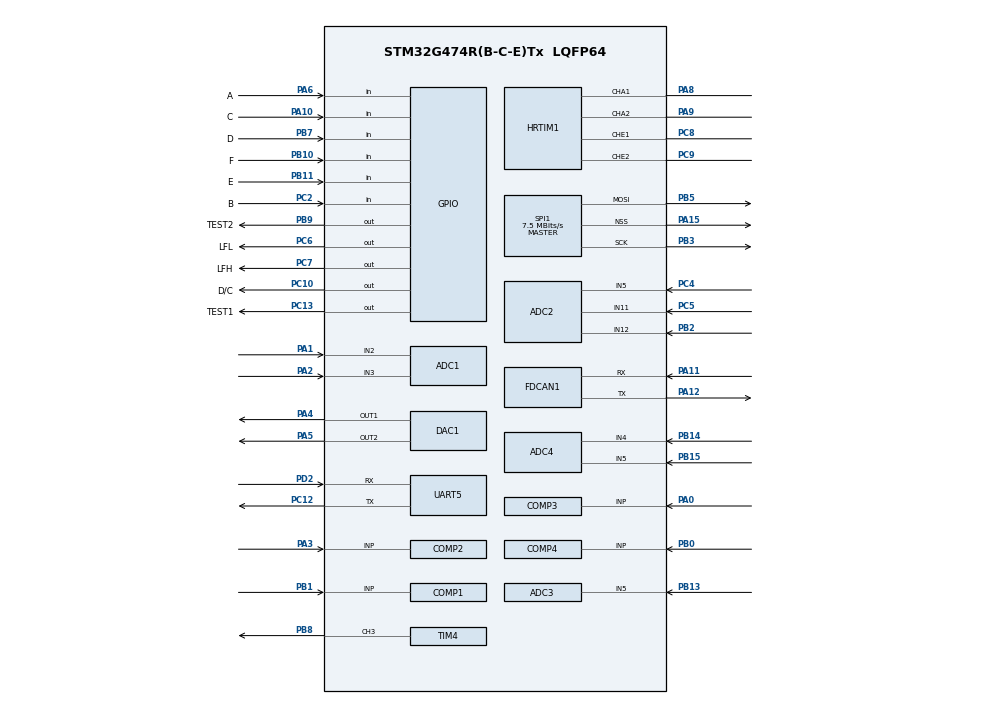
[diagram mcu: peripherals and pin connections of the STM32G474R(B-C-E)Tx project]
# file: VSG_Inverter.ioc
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ADC1.Channel-1\#ChannelRegularConversion=ADC_CHANNEL_4
ADC1.Channel-2\#ChannelRegularConversion=ADC_CHANNEL_3
ADC1.Channel-3\#ChannelRegularConversion=ADC_CHANNEL_2
ADC1.ClockPrescaler=ADC_CLOCK_ASYNC_DIV2
ADC1.DMAContinuousRequests=ENABLE
ADC1.EOCSelection=ADC_EOC_SEQ_CONV
ADC1.ExternalTrigConv=ADC_EXTERNALTRIG_HRTIM_TRG1
ADC1.NbrOfConversion=3
ADC1.NbrOfConversionFlag=1
ADC1.OffsetNumber-1\#ChannelRegularConversion=ADC_OFFSET_NONE
ADC1.OffsetNumber-2\#ChannelRegularConversion=ADC_OFFSET_NONE
ADC1.OffsetNumber-3\#ChannelRegularConversion=ADC_OFFSET_NONE
ADC1.OversamplingMode=ENABLE
ADC1.Rank-1\#ChannelRegularConversion=1
ADC1.Rank-2\#ChannelRegularConversion=2
ADC1.Rank-3\#ChannelRegularConversion=3
ADC1.Ratio=ADC_OVERSAMPLING_RATIO_4
ADC1.RightBitShift=ADC_RIGHTBITSHIFT_1
ADC1.SamplingTime-1\#ChannelRegularConversion=ADC_SAMPLETIME_6CYCLES_5
ADC1.SamplingTime-2\#ChannelRegularConversion=ADC_SAMPLETIME_6CYCLES_5
ADC1.SamplingTime-3\#ChannelRegularConversion=ADC_SAMPLETIME_6CYCLES_5
ADC1.master=1
ADC2.Channel-1\#ChannelRegularConversion=ADC_CHANNEL_12
ADC2.Channel-2\#ChannelRegularConversion=ADC_CHANNEL_11
ADC2.Channel-3\#ChannelRegularConversion=ADC_CHANNEL_5
ADC2.ClockPrescaler=ADC_CLOCK_ASYNC_DIV2
ADC2.DMAContinuousRequests=ENABLE
ADC2.EOCSelection=ADC_EOC_SEQ_CONV
ADC2.ExternalTrigConv=ADC_EXTERNALTRIG_HRTIM_TRG5
ADC2.NbrOfConversion=3
ADC2.NbrOfConversionFlag=1
ADC2.OffsetNumber-1\#ChannelRegularConversion=ADC_OFFSET_NONE
ADC2.OffsetNumber-2\#ChannelRegularConversion=ADC_OFFSET_NONE
ADC2.OffsetNumber-3\#ChannelRegularConversion=ADC_OFFSET_NONE
ADC2.OversamplingMode=ENABLE
ADC2.OversamplingStopReset=ADC_REGOVERSAMPLING_CONTINUED_MODE
ADC2.Rank-1\#ChannelRegularConversion=1
ADC2.Rank-2\#ChannelRegularConversion=2
ADC2.Rank-3\#ChannelRegularConversion=3
ADC2.Ratio=ADC_OVERSAMPLING_RATIO_4
ADC2.RightBitShift=ADC_RIGHTBITSHIFT_1
ADC2.SamplingTime-1\#ChannelRegularConversion=ADC_SAMPLETIME_6CYCLES_5
ADC2.SamplingTime-2\#ChannelRegularConversion=ADC_SAMPLETIME_6CYCLES_5
ADC2.SamplingTime-3\#ChannelRegularConversion=ADC_SAMPLETIME_6CYCLES_5
ADC3.Channel-1\#ChannelRegularConversion=ADC_CHANNEL_12
ADC3.Channel-2\#ChannelRegularConversion=ADC_CHANNEL_5
ADC3.ClockPrescaler=ADC_CLOCK_ASYNC_DIV2
ADC3.DMAContinuousRequests=ENABLE
ADC3.EOCSelection=ADC_EOC_SEQ_CONV
ADC3.ExternalTrigConv=ADC_EXTERNALTRIG_HRTIM_TRG3
ADC3.NbrOfConversion=2
ADC3.NbrOfConversionFlag=1
ADC3.OffsetNumber-1\#ChannelRegularConversion=ADC_OFFSET_NONE
ADC3.OffsetNumber-2\#ChannelRegularConversion=ADC_OFFSET_NONE
ADC3.OversamplingMode=ENABLE
ADC3.Rank-1\#ChannelRegularConversion=1
ADC3.Rank-2\#ChannelRegularConversion=2
ADC3.Ratio=ADC_OVERSAMPLING_RATIO_4
ADC3.RightBitShift=ADC_RIGHTBITSHIFT_1
ADC3.SamplingTime-1\#ChannelRegularConversion=ADC_SAMPLETIME_6CYCLES_5
ADC3.SamplingTime-2\#ChannelRegularConversion=ADC_SAMPLETIME_6CYCLES_5
ADC3.master=1
ADC4.Channel-0\#ChannelRegularConversion=ADC_CHANNEL_5
ADC4.Channel-1\#ChannelRegularConversion=ADC_CHANNEL_4
ADC4.ClockPrescaler=ADC_CLOCK_ASYNC_DIV2
ADC4.NbrOfConversion=2
ADC4.NbrOfConversionFlag=1
ADC4.OffsetNumber-0\#ChannelRegularConversion=ADC_OFFSET_NONE
ADC4.OffsetNumber-1\#ChannelRegularConversion=ADC_OFFSET_NONE
ADC4.Rank-0\#ChannelRegularConversion=1
ADC4.Rank-1\#ChannelRegularConversion=2
ADC4.SamplingTime-0\#ChannelRegularConversion=ADC_SAMPLETIME_6CYCLES_5
ADC4.SamplingTime-1\#ChannelRegularConversion=ADC_SAMPLETIME_6CYCLES_5
ADC5.Channel-0\#ChannelRegularConversion=ADC_CHANNEL_TEMPSENSOR_ADC5
ADC5.Channel-1\#ChannelRegularConversion=ADC_CHANNEL_VBAT
ADC5.Channel-2\#ChannelRegularConversion=ADC_CHANNEL_VREFINT
ADC5.ClockPrescaler=ADC_CLOCK_ASYNC_DIV2
ADC5.EnableAnalogWatchDog1=false
ADC5.EnableAnalogWatchDog2=false
ADC5.NbrOfConversion=3
ADC5.NbrOfConversionFlag=1
ADC5.OffsetNumber-0\#ChannelRegularConversion=ADC_OFFSET_NONE
ADC5.OffsetNumber-1\#ChannelRegularConversion=ADC_OFFSET_NONE
ADC5.OffsetNumber-2\#ChannelRegularConversion=ADC_OFFSET_NONE
ADC5.OversamplingMode=ENABLE
ADC5.Rank-0\#ChannelRegularConversion=1
ADC5.Rank-1\#ChannelRegularConversion=2
ADC5.Rank-2\#ChannelRegularConversion=3
ADC5.Ratio=ADC_OVERSAMPLING_RATIO_16
ADC5.RightBitShift=ADC_RIGHTBITSHIFT_2
ADC5.SamplingTime-0\#ChannelRegularConversion=ADC_SAMPLETIME_12CYCLES_5
ADC5.SamplingTime-1\#ChannelRegularConversion=ADC_SAMPLETIME_12CYCLES_5
ADC5.SamplingTime-2\#ChannelRegularConversion=ADC_SAMPLETIME_12CYCLES_5
DAC1.DAC_Channel-DAC_OUT2=DAC_CHANNEL_2
DAC3.DAC_Channel-DAC_OUT2_Int=DAC_CHANNEL_2
Dma.ADC1.0.Direction=DMA_PERIPH_TO_MEMORY
Dma.ADC1.0.EventEnable=DISABLE
Dma.ADC1.0.Instance=DMA2_Channel1
Dma.ADC1.0.MemDataAlignment=DMA_MDATAALIGN_HALFWORD
Dma.ADC1.0.MemInc=DMA_MINC_ENABLE
Dma.ADC1.0.Mode=DMA_CIRCULAR
Dma.ADC1.0.PeriphDataAlignment=DMA_PDATAALIGN_HALFWORD
Dma.ADC1.0.PeriphInc=DMA_PINC_DISABLE
Dma.ADC1.0.Polarity=HAL_DMAMUX_REQ_GEN_RISING
Dma.ADC1.0.Priority=DMA_PRIORITY_VERY_HIGH
Dma.ADC1.0.RequestNumber=1
Dma.ADC1.0.SignalID=NONE
Dma.ADC1.0.SyncEnable=DISABLE
Dma.ADC1.0.SyncPolarity=HAL_DMAMUX_SYNC_NO_EVENT
Dma.ADC1.0.SyncRequestNumber=1
Dma.ADC1.0.SyncSignalID=NONE
Dma.ADC2.1.Direction=DMA_PERIPH_TO_MEMORY
Dma.ADC2.1.EventEnable=DISABLE
Dma.ADC2.1.Instance=DMA2_Channel2
Dma.ADC2.1.MemDataAlignment=DMA_MDATAALIGN_HALFWORD
Dma.ADC2.1.MemInc=DMA_MINC_ENABLE
Dma.ADC2.1.Mode=DMA_CIRCULAR
Dma.ADC2.1.PeriphDataAlignment=DMA_PDATAALIGN_HALFWORD
Dma.ADC2.1.PeriphInc=DMA_PINC_DISABLE
Dma.ADC2.1.Polarity=HAL_DMAMUX_REQ_GEN_RISING
Dma.ADC2.1.Priority=DMA_PRIORITY_VERY_HIGH
Dma.ADC2.1.RequestNumber=1
Dma.ADC2.1.SignalID=NONE
Dma.ADC2.1.SyncEnable=DISABLE
Dma.ADC2.1.SyncPolarity=HAL_DMAMUX_SYNC_NO_EVENT
Dma.ADC2.1.SyncRequestNumber=1
Dma.ADC2.1.SyncSignalID=NONE
Dma.ADC3.2.Direction=DMA_PERIPH_TO_MEMORY
Dma.ADC3.2.EventEnable=DISABLE
Dma.ADC3.2.Instance=DMA2_Channel3
Dma.ADC3.2.MemDataAlignment=DMA_MDATAALIGN_HALFWORD
Dma.ADC3.2.MemInc=DMA_MINC_ENABLE
Dma.ADC3.2.Mode=DMA_CIRCULAR
Dma.ADC3.2.PeriphDataAlignment=DMA_PDATAALIGN_HALFWORD
Dma.ADC3.2.PeriphInc=DMA_PINC_DISABLE
Dma.ADC3.2.Polarity=HAL_DMAMUX_REQ_GEN_RISING
Dma.ADC3.2.Priority=DMA_PRIORITY_VERY_HIGH
Dma.ADC3.2.RequestNumber=1
Dma.ADC3.2.SignalID=NONE
Dma.ADC3.2.SyncEnable=DISABLE
Dma.ADC3.2.SyncPolarity=HAL_DMAMUX_SYNC_NO_EVENT
Dma.ADC3.2.SyncRequestNumber=1
Dma.ADC3.2.SyncSignalID=NONE
Dma.ADC5.4.Direction=DMA_PERIPH_TO_MEMORY
Dma.ADC5.4.EventEnable=DISABLE
Dma.ADC5.4.Instance=DMA1_Channel1
Dma.ADC5.4.MemDataAlignment=DMA_MDATAALIGN_HALFWORD
Dma.ADC5.4.MemInc=DMA_MINC_ENABLE
Dma.ADC5.4.Mode=DMA_NORMAL
Dma.ADC5.4.PeriphDataAlignment=DMA_PDATAALIGN_HALFWORD
Dma.ADC5.4.PeriphInc=DMA_PINC_DISABLE
Dma.ADC5.4.Polarity=HAL_DMAMUX_REQ_GEN_RISING
Dma.ADC5.4.Priority=DMA_PRIORITY_LOW
Dma.ADC5.4.RequestNumber=1
Dma.ADC5.4.SignalID=NONE
Dma.ADC5.4.SyncEnable=DISABLE
Dma.ADC5.4.SyncPolarity=HAL_DMAMUX_SYNC_NO_EVENT
Dma.ADC5.4.SyncRequestNumber=1
Dma.ADC5.4.SyncSignalID=NONE
Dma.Request0=ADC1
Dma.Request1=ADC2
Dma.Request2=ADC3
Dma.Request3=SPI1_TX
Dma.Request4=ADC5
Dma.SPI1_TX.3.Direction=DMA_MEMORY_TO_PERIPH
Dma.SPI1_TX.3.EventEnable=DISABLE
Dma.SPI1_TX.3.Instance=DMA1_Channel4
Dma.SPI1_TX.3.MemDataAlignment=DMA_MDATAALIGN_BYTE
Dma.SPI1_TX.3.MemInc=DMA_MINC_ENABLE
Dma.SPI1_TX.3.Mode=DMA_NORMAL
Dma.SPI1_TX.3.PeriphDataAlignment=DMA_PDATAALIGN_BYTE
Dma.SPI1_TX.3.PeriphInc=DMA_PINC_DISABLE
Dma.SPI1_TX.3.Polarity=HAL_DMAMUX_REQ_GEN_RISING
Dma.SPI1_TX.3.Priority=DMA_PRIORITY_LOW
Dma.SPI1_TX.3.RequestNumber=1
Dma.SPI1_TX.3.SignalID=NONE
Dma.SPI1_TX.3.SyncEnable=DISABLE
Dma.SPI1_TX.3.SyncPolarity=HAL_DMAMUX_SYNC_NO_EVENT
Dma.SPI1_TX.3.SyncRequestNumber=1
Dma.SPI1_TX.3.SyncSignalID=NONE
FDCAN1.CalculateBaudRateNominal=1250000
FDCAN1.CalculateTimeBitNominal=800
FDCAN1.CalculateTimeQuantumNominal=266.6666666666667
FREERTOS.BinarySemaphores01=mutex_spi_idle,Static,mutex_spi_idleControlBlock,Available;mutex_spi_busy,Static,mutex_spi_busyControlBlock,Depleted;mutex_disp_idle,Static,mutex_disp_idleControlBlock,Available
FREERTOS.HEAP_NUMBER=1
FREERTOS.INCLUDE_vTaskDelete=1
FREERTOS.Queues01=Beep_Queue,1,uint8_t,0,Static,Beep_QueueBuffer,Beep_QueueControlBlock;Button_Queue,16,uint16_t,0,Static,Button_QueueBuffer,Button_QueueControlBlock;Notification_Queue,16,const char*,0,Static,Notification_QueueBuffer,Notification_QueueControlBlock
FREERTOS.Tasks01=Menu,24,512,Menu_Task,As weak,NULL,Static,MenuBuffer,MenuControlBlock;Button,40,96,Button_Task,As weak,NULL,Static,ButtonBuffer,ButtonControlBlock;Beep,8,64,Beep_Task,As weak,NULL,Static,BeepBuffer,BeepControlBlock;Notification,24,128,Notification_Task,As weak,NULL,Static,NotificationBuffer,NotificationControlBlock;AutoRecover,8,64,AutoRecover_Task,As weak,NULL,Static,AutoRecoverBuffer,AutoRecoverControlBlock;ADCTask,8,128,ADC_Task,As weak,NULL,Static,ADC_TaskBuffer,ADC_TaskControlBlock
FREERTOS.configCHECK_FOR_STACK_OVERFLOW=0
FREERTOS.configENABLE_FPU=1
FREERTOS.configMINIMAL_STACK_SIZE=64
FREERTOS.configTOTAL_HEAP_SIZE=512
FREERTOS.configUSE_IDLE_HOOK=1
HRTIM1.ADCTrigger1_Source1=HRTIM_ADCTRIGGEREVENT13_TIMERA_CMP3
HRTIM1.ADCTrigger3_Source1=HRTIM_ADCTRIGGEREVENT13_TIMERE_CMP4
HRTIM1.ADCTrigger_Id1=HRTIM_ADCTRIGGER_1
HRTIM1.ADCTrigger_Id3=HRTIM_ADCTRIGGER_3
HRTIM1.ADCTrigger_Id5=HRTIM_ADCTRIGGER_5
HRTIM1.Adrom_TA=HRTIM_TIM_ADROM_CREST
HRTIM1.Adrom_TE=HRTIM_TIM_ADROM_CREST
HRTIM1.CompareUnit1-MasterTimer=HRTIM_COMPAREUNIT_1
HRTIM1.CompareUnit1-Output_TA1TA2=HRTIM_COMPAREUNIT_1
HRTIM1.CompareUnit1-Output_TE1TE2=HRTIM_COMPAREUNIT_1
HRTIM1.CompareUnit2-MasterTimer=HRTIM_COMPAREUNIT_2
HRTIM1.CompareUnit2-Output_TA1TA2=HRTIM_COMPAREUNIT_2
HRTIM1.CompareUnit2-Output_TE1TE2=__NULL
HRTIM1.CompareUnit3-Output_TA1TA2=HRTIM_COMPAREUNIT_3
HRTIM1.CompareUnit3-Output_TE1TE2=HRTIM_COMPAREUNIT_3
HRTIM1.CompareUnit4-MasterTimer=__NULL
HRTIM1.CompareUnit4-Output_TA1TA2=__NULL
HRTIM1.CompareUnit4-Output_TE1TE2=HRTIM_COMPAREUNIT_4
HRTIM1.CompareValue1-MasterTimer=INITIAL_COMPARE
HRTIM1.CompareValue1-Output_TA1TA2=INITIAL_COMPARE
HRTIM1.CompareValue1-Output_TE1TE2=INITIAL_COMPARE
HRTIM1.CompareValue2-MasterTimer=INITIAL_COMPARE
HRTIM1.CompareValue2-Output_TA1TA2=INITIAL_COMPARE
HRTIM1.CompareValue3-Output_TA1TA2=INITIAL_COMPARE
HRTIM1.CompareValue3-Output_TE1TE2=INITIAL_COMPARE
HRTIM1.CompareValue4-Output_TE1TE2=INITIAL_COMPARE
HRTIM1.DeadTimeInsertion-Output_TA1TA2=HRTIM_TIMDEADTIMEINSERTION_ENABLED
HRTIM1.DeadTimeInsertion-Output_TE1TE2=HRTIM_TIMDEADTIMEINSERTION_ENABLED
HRTIM1.Event_EEV1=HRTIM_EVENT_1
HRTIM1.Event_EEV10=__NULL
HRTIM1.Event_EEV2=HRTIM_EVENT_2
HRTIM1.Event_EEV3=HRTIM_EVENT_3
HRTIM1.Event_EEV4=HRTIM_EVENT_4
HRTIM1.Event_EEV5=HRTIM_EVENT_5
HRTIM1.Event_EEV6=HRTIM_EVENT_6
HRTIM1.Event_EEV7=HRTIM_EVENT_7
HRTIM1.Event_EEV8=__NULL
HRTIM1.Event_EEV9=__NULL
HRTIM1.FallingSignLock-Output_TA1TA2=HRTIM_TIMDEADTIME_FALLINGSIGNLOCK_READONLY
HRTIM1.FallingSignLock-Output_TE1TE2=HRTIM_TIMDEADTIME_FALLINGSIGNLOCK_READONLY
HRTIM1.FallingValue-Output_TA1TA2=INITIAL_DEADTIME
HRTIM1.FallingValue-Output_TE1TE2=INITIAL_DEADTIME
HRTIM1.FastMode_EEV1=HRTIM_EVENTFASTMODE_DISABLE
HRTIM1.FastMode_EEV2=HRTIM_EVENTFASTMODE_DISABLE
HRTIM1.FastMode_EEV4=HRTIM_EVENTFASTMODE_DISABLE
HRTIM1.FastMode_EEV5=HRTIM_EVENTFASTMODE_DISABLE
HRTIM1.FaultEnable_Source1-Output_TA1TA2=HRTIM_TIMFAULTENABLE_FAULT1
HRTIM1.FaultEnable_Source1-Output_TE1TE2=HRTIM_TIMFAULTENABLE_FAULT2
HRTIM1.FaultEnable_Source2-Output_TA1TA2=HRTIM_TIMFAULTENABLE_FAULT5
HRTIM1.FaultEnable_Source2-Output_TE1TE2=HRTIM_TIMFAULTENABLE_FAULT4
HRTIM1.FaultLevel1-Output_TA1TA2=HRTIM_OUTPUTFAULTLEVEL_INACTIVE
HRTIM1.FaultLevel1-Output_TE1TE2=HRTIM_OUTPUTFAULTLEVEL_INACTIVE
HRTIM1.Fault_Line1=HRTIM_FAULT_1
HRTIM1.Fault_Line2=HRTIM_FAULT_2
HRTIM1.Fault_Line3=HRTIM_FAULT_3
HRTIM1.Fault_Line4=HRTIM_FAULT_4
HRTIM1.Fault_Line5=HRTIM_FAULT_5
HRTIM1.Fault_Line6=HRTIM_FAULT_6
HRTIM1.InterruptRequests1-Output_TA1TA2=HRTIM_TIM_IT_CMP2
HRTIM1.NumberADCTriggerSource1=1
HRTIM1.NumberADCTriggerSource3=1
HRTIM1.NumberFaultEnable-Output_TA1TA2=2
HRTIM1.NumberFaultEnable-Output_TE1TE2=2
HRTIM1.NumberInterruptRequests-Output_TA1TA2=1
HRTIM1.NumberInterruptRequests-Output_TE1TE2=0
HRTIM1.NumberResetSource1-Output_TA1TA2=1
HRTIM1.NumberResetSource1-Output_TE1TE2=1
HRTIM1.NumberResetTrigger-Output_TA1TA2=1
HRTIM1.NumberResetTrigger-Output_TE1TE2=1
HRTIM1.NumberSetSource1-Output_TA1TA2=1
HRTIM1.NumberSetSource1-Output_TE1TE2=1
HRTIM1.ORingUpdateSource_ADCTrigger1=HRTIM_ADCTRIGGERUPDATE_TIMER_A
HRTIM1.ORingUpdateSource_ADCTrigger3=HRTIM_ADCTRIGGERUPDATE_TIMER_E
HRTIM1.ORingUpdateSource_ADCTrigger5=HRTIM_ADCTRIGGERUPDATE_TIMER_E
HRTIM1.Periode_MASTER=INITIAL_PERIOD
HRTIM1.Periode_TA=INITIAL_PERIOD
HRTIM1.Periode_TE=INITIAL_PERIOD
HRTIM1.Polarity_EEV1=HRTIM_EVENTPOLARITY_LOW
HRTIM1.Polarity_EEV2=HRTIM_EVENTPOLARITY_LOW
HRTIM1.Polarity_EEV5=HRTIM_EVENTPOLARITY_HIGH
HRTIM1.PreloadEnable-MasterTimer=HRTIM_PRELOAD_ENABLED
HRTIM1.PreloadEnable-Output_TA1TA2=HRTIM_PRELOAD_ENABLED
HRTIM1.PreloadEnable-Output_TE1TE2=HRTIM_PRELOAD_ENABLED
HRTIM1.PrescalerRatio_MASTER=HRTIM_PRESCALERRATIO_MUL16
HRTIM1.ResetOutput1_Source1-Output_TA1TA2=HRTIM_OUTPUTRESET_TIMCMP1
HRTIM1.ResetOutput1_Source1-Output_TE1TE2=HRTIM_OUTPUTRESET_TIMCMP1
HRTIM1.ResetTrigger1-Output_TA1TA2=HRTIM_TIMRESETTRIGGER_MASTER_CMP1
HRTIM1.ResetTrigger1-Output_TE1TE2=HRTIM_TIMRESETTRIGGER_MASTER_CMP2
HRTIM1.ResetUpdate-Output_TA1TA2=HRTIM_TIMUPDATEONRESET_DISABLED
HRTIM1.RisingSignLock-Output_TA1TA2=HRTIM_TIMDEADTIME_RISINGSIGNLOCK_READONLY
HRTIM1.RisingSignLock-Output_TE1TE2=HRTIM_TIMDEADTIME_RISINGSIGNLOCK_READONLY
HRTIM1.RisingValue-Output_TA1TA2=INITIAL_DEADTIME
HRTIM1.RisingValue-Output_TE1TE2=INITIAL_DEADTIME
HRTIM1.Sensitivity_EEV1=HRTIM_EVENTSENSITIVITY_FALLINGEDGE
HRTIM1.Sensitivity_EEV2=HRTIM_EVENTSENSITIVITY_FALLINGEDGE
HRTIM1.Sensitivity_EEV4=HRTIM_EVENTSENSITIVITY_RISINGEDGE
HRTIM1.Sensitivity_EEV5=HRTIM_EVENTSENSITIVITY_RISINGEDGE
HRTIM1.SetOutput1_Source1-Output_TA1TA2=HRTIM_OUTPUTSET_TIMCMP1
HRTIM1.SetOutput1_Source1-Output_TE1TE2=HRTIM_OUTPUTSET_TIMCMP1
HRTIM1.Source_ADCTrigger5=HRTIM_ADCTRIGGEREVENT579_TIMERE_CMP3
HRTIM1.Source_EEV3=HRTIM_EEV3SRC_ADC1_AWD3
HRTIM1.Source_EEV6=HRTIM_EEV6SRC_ADC2_AWD3
HRTIM1.Source_EEV7=HRTIM_EEV7SRC_ADC3_AWD1
HRTIM1.Source_FaultLine1=HRTIM_FAULTSOURCE_EEVINPUT
HRTIM1.Source_FaultLine2=HRTIM_FAULTSOURCE_EEVINPUT
HRTIM1.Source_FaultLine3=HRTIM_FAULTSOURCE_EEVINPUT
HRTIM1.Source_FaultLine4=HRTIM_FAULTSOURCE_EEVINPUT
HRTIM1.Source_FaultLine5=HRTIM_FAULTSOURCE_EEVINPUT
HRTIM1.Source_FaultLine6=HRTIM_FAULTSOURCE_EEVINPUT
HRTIM1.UpDownMode-Output_TA1TA2=HRTIM_TIMERUPDOWNMODE_UPDOWN
HRTIM1.UpDownMode-Output_TE1TE2=HRTIM_TIMERUPDOWNMODE_UPDOWN
Mcu.Family=STM32G4
Mcu.Name=STM32G474R(B-C-E)Tx
Mcu.Package=LQFP64
Mcu.UserConstants=INITIAL_PERIOD,14436;INITIAL_DEADTIME,250;INITIAL_COMPARE,INITIAL_PERIOD/2
NVIC.DMA1_Channel4_IRQn=true\:5\:0\:false\:false\:true\:true\:true\:true\:true
NVIC.PriorityGroup=NVIC_PRIORITYGROUP_4
NVIC.TIM6_DAC_IRQn=true\:15\:0\:false\:false\:true\:false\:false\:true\:true
NVIC.TIM7_DAC_IRQn=true\:15\:0\:false\:false\:true\:false\:false\:true\:true
NVIC.TimeBase=TIM7_DAC_IRQn
NVIC.TimeBaseIP=TIM7
PA0.Mode=INP
PA0.Signal=COMP3_INP
PA1.Mode=IN2-Single-Ended
PA1.Signal=ADC1_IN2
PA10.GPIO_Label=C
PA10.GPIO_PuPd=GPIO_PULLUP
PA10.Signal=GPIO_Input
PA11.GPIO_Speed=GPIO_SPEED_FREQ_MEDIUM
PA11.Mode=FDCAN_Activate
PA11.Signal=FDCAN1_RX
PA12.GPIO_Speed=GPIO_SPEED_FREQ_MEDIUM
PA12.Mode=FDCAN_Activate
PA12.Signal=FDCAN1_TX
PA13.Mode=Serial_Wire
PA13.Signal=SYS_JTMS-SWDIO
PA14.Mode=Serial_Wire
PA14.Signal=SYS_JTCK-SWCLK
PA15.GPIO_Speed=GPIO_SPEED_FREQ_MEDIUM
PA15.Mode=NSS_Signal_Hard_Output
PA15.Signal=SPI1_NSS
PA2.Mode=IN3-Single-Ended
PA2.Signal=ADC1_IN3
PA3.Signal=SharedAnalog_PA3
PA4.Signal=COMP_DAC11_group
PA5.Signal=COMP_DAC12_group
PA6.GPIO_Label=A
PA6.GPIO_PuPd=GPIO_PULLUP
PA6.Signal=GPIO_Input
PA8.GPIO_PuPd=GPIO_PULLDOWN
PA8.Mode=Output_TA1TA2
PA8.Signal=HRTIM1_CHA1
PA9.GPIO_PuPd=GPIO_PULLDOWN
PA9.Mode=Output_TA1TA2
PA9.Signal=HRTIM1_CHA2
PB0.Signal=SharedAnalog_PB0
PB1.Mode=INP
PB1.Signal=COMP1_INP
PB10.GPIO_Label=F
PB10.GPIO_PuPd=GPIO_PULLUP
PB10.Signal=GPIO_Input
PB11.GPIO_Label=E
PB11.GPIO_PuPd=GPIO_PULLUP
PB11.Signal=GPIO_Input
PB13.Mode=IN5-Single-Ended
PB13.Signal=ADC3_IN5
PB14.Mode=IN4-Single-Ended
PB14.Signal=ADC4_IN4
PB15.Mode=IN5-Single-Ended
PB15.Signal=ADC4_IN5
PB2.Mode=IN12-Single-Ended
PB2.Signal=ADC2_IN12
PB3.GPIO_Speed=GPIO_SPEED_FREQ_VERY_HIGH
PB3.Mode=TX_Only_Simplex_Unidirect_Master
PB3.Signal=SPI1_SCK
PB5.GPIO_Speed=GPIO_SPEED_FREQ_VERY_HIGH
PB5.Mode=TX_Only_Simplex_Unidirect_Master
PB5.Signal=SPI1_MOSI
PB7.GPIO_Label=D
PB7.GPIO_PuPd=GPIO_PULLUP
PB7.Signal=GPIO_Input
PB8-BOOT0.Signal=S_TIM4_CH3
PB9.GPIO_Label=TEST2
PB9.GPIO_Speed=GPIO_SPEED_FREQ_VERY_HIGH
PB9.Signal=GPIO_Output
PC10.GPIO_Label=D/C
PC10.GPIO_Speed=GPIO_SPEED_FREQ_MEDIUM
PC10.Signal=GPIO_Output
PC12.GPIO_Speed=GPIO_SPEED_FREQ_MEDIUM
PC12.Mode=Asynchronous
PC12.Signal=UART5_TX
PC13.GPIO_Label=TEST1
PC13.GPIO_PuPd=GPIO_PULLDOWN
PC13.Signal=GPIO_Output
PC14-OSC32_IN.Mode=LSE-External-Oscillator
PC14-OSC32_IN.Signal=RCC_OSC32_IN
PC15-OSC32_OUT.Mode=LSE-External-Oscillator
PC15-OSC32_OUT.Signal=RCC_OSC32_OUT
PC2.GPIO_Label=B
PC2.GPIO_PuPd=GPIO_PULLUP
PC2.Signal=GPIO_Input
PC4.Mode=IN5-Single-Ended
PC4.Signal=ADC2_IN5
PC5.Mode=IN11-Single-Ended
PC5.Signal=ADC2_IN11
PC6.GPIO_Label=LFL
PC6.GPIO_PuPd=GPIO_PULLDOWN
PC6.GPIO_Speed=GPIO_SPEED_FREQ_MEDIUM
PC6.Signal=GPIO_Output
PC7.GPIO_Label=LFH
PC7.GPIO_PuPd=GPIO_PULLDOWN
PC7.GPIO_Speed=GPIO_SPEED_FREQ_MEDIUM
PC7.Signal=GPIO_Output
PC8.GPIO_PuPd=GPIO_PULLDOWN
PC8.Mode=Output_TE1TE2
PC8.Signal=HRTIM1_CHE1
PC9.GPIO_PuPd=GPIO_PULLDOWN
PC9.Mode=Output_TE1TE2
PC9.Signal=HRTIM1_CHE2
PD2.GPIO_Speed=GPIO_SPEED_FREQ_MEDIUM
PD2.Mode=Asynchronous
PD2.Signal=UART5_RX
PF0-OSC_IN.Mode=HSE-External-Oscillator
PF0-OSC_IN.Signal=RCC_OSC_IN
PF1-OSC_OUT.Mode=HSE-External-Oscillator
PF1-OSC_OUT.Signal=RCC_OSC_OUT
ProjectManager.HeapSize=0x000
ProjectManager.StackSize=0x1000
ProjectManager.TargetToolchain=MDK-ARM V5.32
RCC.ADC12CLockSelection=RCC_ADC12CLKSOURCE_PLL
RCC.ADC12Freq_Value=60000000
RCC.ADC345CLockSelection=RCC_ADC345CLKSOURCE_PLL
RCC.ADC345Freq_Value=60000000
RCC.AHBFreq_Value=120000000
RCC.APB1CLKDivider=RCC_HCLK_DIV2
RCC.APB1Freq_Value=60000000
RCC.APB1TimFreq_Value=120000000
RCC.APB2CLKDivider=RCC_HCLK_DIV2
RCC.APB2Freq_Value=60000000
RCC.APB2TimFreq_Value=120000000
RCC.CortexFreq_Value=120000000
RCC.EXTERNAL_CLOCK_VALUE=12288000
RCC.HCLKFreq_Value=120000000
RCC.HSE_VALUE=12000000
RCC.HSI48_VALUE=48000000
RCC.HSI_VALUE=16000000
RCC.LSE_Drive_Capability=RCC_LSEDRIVE_MEDIUMHIGH
RCC.LSE_Timout=500
RCC.PLLN=20
RCC.PLLP=RCC_PLLP_DIV4
RCC.PLLSourceVirtual=RCC_PLLSOURCE_HSE
RCC.PREFETCH_ENABLE=1
RCC.PWR_Regulator_Voltage_Scale=PWR_REGULATOR_VOLTAGE_SCALE1_BOOST
RCC.RTCClockSelection=RCC_RTCCLKSOURCE_LSE
RCC.SYSCLKFreq_VALUE=120000000
RCC.SYSCLKSource=RCC_SYSCLKSOURCE_PLLCLK
RCC.USBFreq_Value=120000000
RCC.VCOOutputFreq_Value=240000000
RCC.VDD_VALUE=3.4
RTC.Format=RTC_FORMAT_BIN
SH.COMP_DAC11_group.0=DAC1_OUT1,DAC_OUT1
SH.COMP_DAC12_group.0=DAC1_OUT2,DAC_OUT2
SH.S_TIM4_CH3.0=TIM4_CH3,PWM Generation3 CH3
SH.SharedAnalog_PA3.0=COMP2_INP,INP
SH.SharedAnalog_PA3.1=ADC1_IN4,IN4-Single-Ended
SH.SharedAnalog_PB0.0=COMP4_INP,INP
SH.SharedAnalog_PB0.1=ADC3_IN12,IN12-Single-Ended
SPI1.BaudRatePrescaler=SPI_BAUDRATEPRESCALER_8
SPI1.CalculateBaudRate=7.5 MBits/s
SPI1.DataSize=SPI_DATASIZE_8BIT
SPI1.Direction=SPI_DIRECTION_2LINES
SPI1.Mode=SPI_MODE_MASTER
SPI1.VirtualNSS=VM_NSSHARD
SPI1.VirtualType=VM_MASTER
TIM4.Channel-PWM\ Generation3\ CH3=TIM_CHANNEL_3
TIM4.PeriodNoDither=255
TIM4.Prescaler=938
VP_ADC5_TempSens_Input.Mode=IN-TempSens
VP_ADC5_Vbat_Input.Mode=IN-Vbat
VP_ADC5_Vref_Input.Mode=IN-Vrefint
VP_COMP1_VS_DAC3OUT1.Mode=INM_DAC3OUT1
VP_COMP2_VS_DAC3OUT2.Mode=INM_DAC3OUT2
VP_COMP3_VS_DAC3OUT1.Mode=INM_DAC3OUT1
VP_COMP4_VS_DAC3OUT2.Mode=INM_DAC3OUT2
VP_CORDIC_VS_CORDIC.Mode=CORDIC_Activate
VP_DAC3_VS_DACI1.Mode=DAC_OUT1_Int
VP_DAC3_VS_DACI2.Mode=DAC_OUT2_Int
VP_FMAC_VS_FMAC.Mode=FMAC_Activate
VP_FREERTOS_VS_CMSIS_V2.Mode=CMSIS_V2
VP_HRTIM1_VS_hrtimMasterTimerNoOutput.Mode=MasterTimer
VP_RTC_VS_RTC_Activate.Mode=RTC_Enabled
VP_RTC_VS_RTC_Calendar.Mode=RTC_Calendar
VP_SYS_VS_DBSignals.Mode=DisableDeadBatterySignals
VP_SYS_VS_tim7.Mode=TIM7
VP_SYS_V_VREFBUF.Mode=ExternalMode
VP_TIM4_VS_ClockSourceINT.Mode=Internal
board=custom

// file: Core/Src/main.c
/* USER CODE BEGIN Header */
/**
  ******************************************************************************
  * @file           : main.c
  * @brief          : Main program body
  ******************************************************************************
  * @attention
  *
  * Copyright (c) 2026 STMicroelectronics.
  * All rights reserved.
  *
  * This software is licensed under terms that can be found in the LICENSE file
  * in the root directory of this software component.
  * If no LICENSE file comes with this software, it is provided AS-IS.
  *
  ******************************************************************************
  */
/* USER CODE END Header */
#include "main.h"
#include "cmsis_os.h"
#include "adc.h"
#include "comp.h"
#include "cordic.h"
#include "dac.h"
#include "dma.h"
#include "fdcan.h"
#include "fmac.h"
#include "hrtim.h"
#include "rtc.h"
#include "spi.h"
#include "tim.h"
#include "usart.h"
#include "gpio.h"

void SystemClock_Config(void);
void MX_FREERTOS_Init(void);

/* USER CODE BEGIN 0 */
/***********************移动中断向量表到SRAM以提升速度*************************/
#define VECT_TAB_START  0x10007C00
#define VECT_TAB_SIZE   0x400
extern uint32_t Load$$ER_IROM1$$Base; // 获取 Flash 中原始向量表地址

void RelocateVectorTable(void) {
    uint32_t *pSrc = (uint32_t *)0x08000000;         // Flash 中的向量表起始
    uint32_t *pDest = (uint32_t *)VECT_TAB_START;        // CCM RAM 中的目标位置

    /* 1. 将向量表从 Flash 拷贝到 SRAM2 */
    for (int i = 0; i < VECT_TAB_SIZE / 4; i++) {
        pDest[i] = pSrc[i];
    }

    /* 2. 更新 VTOR 寄存器，告知 CPU 新的地址 */
    __disable_irq();
    SCB->VTOR = VECT_TAB_START;
    __DSB(); // 数据同步屏障
    __enable_irq();
}

/**************************从120MHz超频至240MHz********************************/
//不影响外设时钟
void STM32G474_OverClock(void)
{
    LL_RCC_HSI_Enable();
    while (LL_RCC_HSI_IsReady() != 1) {}
    LL_RCC_SetSysClkSource(LL_RCC_SYS_CLKSOURCE_HSI);
    while (LL_RCC_GetSysClkSource() != LL_RCC_SYS_CLKSOURCE_STATUS_HSI) {}

    LL_FLASH_SetLatency(LL_FLASH_LATENCY_5);
    while(LL_FLASH_GetLatency() != LL_FLASH_LATENCY_5) { }

    LL_RCC_SetAHBPrescaler(LL_RCC_SYSCLK_DIV_1);
    LL_RCC_SetAPB1Prescaler(LL_RCC_APB1_DIV_4);
    LL_RCC_SetAPB2Prescaler(LL_RCC_APB2_DIV_4);

    LL_RCC_PLL_Disable();
    while (LL_RCC_PLL_IsReady() == 1) {}
    LL_RCC_PLL_ConfigDomain_SYS(LL_RCC_PLLSOURCE_HSE, LL_RCC_PLLM_DIV_1, 40, LL_RCC_PLLR_DIV_2);
    LL_RCC_PLL_ConfigDomain_ADC(LL_RCC_PLLSOURCE_HSE, LL_RCC_PLLM_DIV_1, 40, LL_RCC_PLLP_DIV_8);
    LL_RCC_PLL_EnableDomain_SYS();
    LL_RCC_PLL_Enable();
    while(LL_RCC_PLL_IsReady() != 1){}

    LL_RCC_SetSysClkSource(LL_RCC_SYS_CLKSOURCE_PLL);
    while(LL_RCC_GetSysClkSource() != LL_RCC_SYS_CLKSOURCE_STATUS_PLL){}

    for (__IO uint32_t i = (170 >> 1); i !=0; i--);

    LL_SetSystemCoreClock(240000000);
    if (HAL_InitTick (TICK_INT_PRIORITY) != HAL_OK) Error_Handler();
}
/* USER CODE END 0 */

int main(void)
{

  /* USER CODE BEGIN 1 */
    static RAMRO float gain1 = 1.14f;
  /* USER CODE END 1 */

  /* MCU Configuration--------------------------------------------------------*/

  /* Reset of all peripherals, Initializes the Flash interface and the Systick. */
  HAL_Init();

  /* USER CODE BEGIN Init */
    // === 【修正版】强制复位 Backup Domain（彻底解决 Errata 2.2.6）===
    // 只在真正掉电/上电复位时清一次（保留电池供电时的 RTC 时间）
    if (LL_RCC_IsActiveFlag_BORRST() ||          // POR / BOR 复位
        LL_RCC_IsActiveFlag_PINRST() ||          // 外部 NRST 复位
        LL_RCC_IsActiveFlag_LPWRRST()) {         // 低功耗唤醒复位（保险起见）

        LL_PWR_EnableBkUpAccess();               // 必须先打开 DBP
        LL_RCC_ForceBackupDomainReset();         // BDRST = 1
        LL_RCC_ReleaseBackupDomainReset();       // BDRST = 0
        LL_RCC_ClearResetFlags();                // 清所有复位标志
    }
  /* USER CODE END Init */

  /* Configure the system clock */
  SystemClock_Config();

  /* USER CODE BEGIN SysInit */
    //配置错误中断重定向
    SCB->SHCSR |= SCB_SHCSR_MEMFAULTENA_Msk;
    SCB->SHCSR |= SCB_SHCSR_BUSFAULTENA_Msk;
    SCB->SHCSR |= SCB_SHCSR_USGFAULTENA_Msk;

    //手动超频到240MHz
    STM32G474_OverClock();
  /* USER CODE END SysInit */

  /* Initialize all configured peripherals */
  MX_GPIO_Init();
  MX_DMA_Init();
  MX_FDCAN1_Init();
  MX_RTC_Init();
  MX_ADC1_Init();
  MX_COMP1_Init();
  MX_COMP2_Init();
  MX_DAC1_Init();
  MX_DAC3_Init();
  MX_SPI1_Init();
  MX_ADC2_Init();
  MX_ADC3_Init();
  MX_COMP3_Init();
  MX_COMP4_Init();
  MX_HRTIM1_Init();
  MX_CORDIC_Init();
  MX_FMAC_Init();
  MX_ADC5_Init();
  MX_TIM4_Init();
  MX_ADC4_Init();
  MX_UART5_Init();

  /* Init scheduler */
  osKernelInitialize();  /* Call init function for freertos objects (in cmsis_os2.c) */
  MX_FREERTOS_Init();

  /* Start scheduler */
  osKernelStart();

  /* We should never get here as control is now taken by the scheduler */

  /* Infinite loop */
  while (1)
  {

  }
}

void SystemClock_Config(void)
{
  LL_FLASH_SetLatency(LL_FLASH_LATENCY_3);
  while(LL_FLASH_GetLatency() != LL_FLASH_LATENCY_3)
  {
  }
  LL_PWR_EnableRange1BoostMode();
  LL_RCC_HSE_Enable();
   /* Wait till HSE is ready */
  while(LL_RCC_HSE_IsReady() != 1)
  {
  }

  LL_PWR_EnableBkUpAccess();
  LL_RCC_LSE_SetDriveCapability(LL_RCC_LSEDRIVE_MEDIUMHIGH);
  LL_RCC_LSE_Enable();
   /* Wait till LSE is ready */
  while(LL_RCC_LSE_IsReady() != 1)
  {
  }

  LL_RCC_PLL_ConfigDomain_SYS(LL_RCC_PLLSOURCE_HSE, LL_RCC_PLLM_DIV_1, 20, LL_RCC_PLLR_DIV_2);
  LL_RCC_PLL_ConfigDomain_ADC(LL_RCC_PLLSOURCE_HSE, LL_RCC_PLLM_DIV_1, 20, LL_RCC_PLLP_DIV_4);
  LL_RCC_PLL_EnableDomain_SYS();
  LL_RCC_PLL_EnableDomain_ADC();
  LL_RCC_PLL_Enable();
   /* Wait till PLL is ready */
  while(LL_RCC_PLL_IsReady() != 1)
  {
  }

  LL_RCC_SetSysClkSource(LL_RCC_SYS_CLKSOURCE_PLL);
  LL_RCC_SetAHBPrescaler(LL_RCC_SYSCLK_DIV_2);
   /* Wait till System clock is ready */
  while(LL_RCC_GetSysClkSource() != LL_RCC_SYS_CLKSOURCE_STATUS_PLL)
  {
  }

  /* Insure 1us transition state at intermediate medium speed clock*/
  for (__IO uint32_t i = (170 >> 1); i !=0; i--);

  /* Set AHB prescaler*/
  LL_RCC_SetAHBPrescaler(LL_RCC_SYSCLK_DIV_1);
  LL_RCC_SetAPB1Prescaler(LL_RCC_APB1_DIV_2);
  LL_RCC_SetAPB2Prescaler(LL_RCC_APB2_DIV_2);
  LL_SetSystemCoreClock(120000000);

   /* Update the time base */
  if (HAL_InitTick (TICK_INT_PRIORITY) != HAL_OK)
  {
    Error_Handler();
  }
}

void HAL_TIM_PeriodElapsedCallback(TIM_HandleTypeDef *htim)
{
  if (htim->Instance == TIM7)
  {
    HAL_IncTick();
  }
}

void Error_Handler(void)
{
  __disable_irq();
  while (1)
  {
  }
}

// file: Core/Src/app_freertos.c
/* USER CODE BEGIN Header */
/**
  ******************************************************************************
  * File Name          : app_freertos.c
  * Description        : Code for freertos applications
  ******************************************************************************
  * @attention
  *
  * Copyright (c) 2026 STMicroelectronics.
  * All rights reserved.
  *
  * This software is licensed under terms that can be found in the LICENSE file
  * in the root directory of this software component.
  * If no LICENSE file comes with this software, it is provided AS-IS.
  *
  ******************************************************************************
  */
/* USER CODE END Header */

#include "FreeRTOS.h"
#include "task.h"
#include "main.h"
#include "cmsis_os.h"

typedef StaticTask_t osStaticThreadDef_t;
typedef StaticQueue_t osStaticMessageQDef_t;
typedef StaticSemaphore_t osStaticSemaphoreDef_t;

/* Definitions for Menu */
osThreadId_t MenuHandle;
uint32_t MenuBuffer[ 512 ];
osStaticThreadDef_t MenuControlBlock;
const osThreadAttr_t Menu_attributes = {
  .name = "Menu",
  .stack_mem = &MenuBuffer[0],
  .stack_size = sizeof(MenuBuffer),
  .cb_mem = &MenuControlBlock,
  .cb_size = sizeof(MenuControlBlock),
  .priority = (osPriority_t) osPriorityNormal,
};
/* Definitions for Button */
osThreadId_t ButtonHandle;
uint32_t ButtonBuffer[ 96 ];
osStaticThreadDef_t ButtonControlBlock;
const osThreadAttr_t Button_attributes = {
  .name = "Button",
  .stack_mem = &ButtonBuffer[0],
  .stack_size = sizeof(ButtonBuffer),
  .cb_mem = &ButtonControlBlock,
  .cb_size = sizeof(ButtonControlBlock),
  .priority = (osPriority_t) osPriorityHigh,
};
/* Definitions for Beep */
osThreadId_t BeepHandle;
uint32_t BeepBuffer[ 64 ];
osStaticThreadDef_t BeepControlBlock;
const osThreadAttr_t Beep_attributes = {
  .name = "Beep",
  .stack_mem = &BeepBuffer[0],
  .stack_size = sizeof(BeepBuffer),
  .cb_mem = &BeepControlBlock,
  .cb_size = sizeof(BeepControlBlock),
  .priority = (osPriority_t) osPriorityLow,
};
/* Definitions for Notification */
osThreadId_t NotificationHandle;
uint32_t NotificationBuffer[ 128 ];
osStaticThreadDef_t NotificationControlBlock;
const osThreadAttr_t Notification_attributes = {
  .name = "Notification",
  .stack_mem = &NotificationBuffer[0],
  .stack_size = sizeof(NotificationBuffer),
  .cb_mem = &NotificationControlBlock,
  .cb_size = sizeof(NotificationControlBlock),
  .priority = (osPriority_t) osPriorityNormal,
};
/* Definitions for AutoRecover */
osThreadId_t AutoRecoverHandle;
uint32_t AutoRecoverBuffer[ 64 ];
osStaticThreadDef_t AutoRecoverControlBlock;
const osThreadAttr_t AutoRecover_attributes = {
  .name = "AutoRecover",
  .stack_mem = &AutoRecoverBuffer[0],
  .stack_size = sizeof(AutoRecoverBuffer),
  .cb_mem = &AutoRecoverControlBlock,
  .cb_size = sizeof(AutoRecoverControlBlock),
  .priority = (osPriority_t) osPriorityLow,
};
/* Definitions for ADCTask */
osThreadId_t ADCTaskHandle;
uint32_t ADC_TaskBuffer[ 128 ];
osStaticThreadDef_t ADC_TaskControlBlock;
const osThreadAttr_t ADCTask_attributes = {
  .name = "ADCTask",
  .stack_mem = &ADC_TaskBuffer[0],
  .stack_size = sizeof(ADC_TaskBuffer),
  .cb_mem = &ADC_TaskControlBlock,
  .cb_size = sizeof(ADC_TaskControlBlock),
  .priority = (osPriority_t) osPriorityLow,
};
/* Definitions for Beep_Queue */
osMessageQueueId_t Beep_QueueHandle;
uint8_t Beep_QueueBuffer[ 1 * sizeof( uint8_t ) ];
osStaticMessageQDef_t Beep_QueueControlBlock;
const osMessageQueueAttr_t Beep_Queue_attributes = {
  .name = "Beep_Queue",
  .cb_mem = &Beep_QueueControlBlock,
  .cb_size = sizeof(Beep_QueueControlBlock),
  .mq_mem = &Beep_QueueBuffer,
  .mq_size = sizeof(Beep_QueueBuffer)
};
/* Definitions for Button_Queue */
osMessageQueueId_t Button_QueueHandle;
uint8_t Button_QueueBuffer[ 16 * sizeof( uint16_t ) ];
osStaticMessageQDef_t Button_QueueControlBlock;
const osMessageQueueAttr_t Button_Queue_attributes = {
  .name = "Button_Queue",
  .cb_mem = &Button_QueueControlBlock,
  .cb_size = sizeof(Button_QueueControlBlock),
  .mq_mem = &Button_QueueBuffer,
  .mq_size = sizeof(Button_QueueBuffer)
};
/* Definitions for Notification_Queue */
osMessageQueueId_t Notification_QueueHandle;
uint8_t Notification_QueueBuffer[ 16 * sizeof( const char* ) ];
osStaticMessageQDef_t Notification_QueueControlBlock;
const osMessageQueueAttr_t Notification_Queue_attributes = {
  .name = "Notification_Queue",
  .cb_mem = &Notification_QueueControlBlock,
  .cb_size = sizeof(Notification_QueueControlBlock),
  .mq_mem = &Notification_QueueBuffer,
  .mq_size = sizeof(Notification_QueueBuffer)
};
/* Definitions for mutex_spi_idle */
osSemaphoreId_t mutex_spi_idleHandle;
osStaticSemaphoreDef_t mutex_spi_idleControlBlock;
const osSemaphoreAttr_t mutex_spi_idle_attributes = {
  .name = "mutex_spi_idle",
  .cb_mem = &mutex_spi_idleControlBlock,
  .cb_size = sizeof(mutex_spi_idleControlBlock),
};
/* Definitions for mutex_spi_busy */
osSemaphoreId_t mutex_spi_busyHandle;
osStaticSemaphoreDef_t mutex_spi_busyControlBlock;
const osSemaphoreAttr_t mutex_spi_busy_attributes = {
  .name = "mutex_spi_busy",
  .cb_mem = &mutex_spi_busyControlBlock,
  .cb_size = sizeof(mutex_spi_busyControlBlock),
};
/* Definitions for mutex_disp_idle */
osSemaphoreId_t mutex_disp_idleHandle;
osStaticSemaphoreDef_t mutex_disp_idleControlBlock;
const osSemaphoreAttr_t mutex_disp_idle_attributes = {
  .name = "mutex_disp_idle",
  .cb_mem = &mutex_disp_idleControlBlock,
  .cb_size = sizeof(mutex_disp_idleControlBlock),
};

void Menu_Task(void *argument);
void Button_Task(void *argument);
void Beep_Task(void *argument);
void Notification_Task(void *argument);
void AutoRecover_Task(void *argument);
void ADC_Task(void *argument);

void MX_FREERTOS_Init(void); /* (MISRA C 2004 rule 8.1) */

/* Hook prototypes */
void vApplicationIdleHook(void);

/* USER CODE BEGIN 2 */
void vApplicationIdleHook( void )
{
   /* vApplicationIdleHook() will only be called if configUSE_IDLE_HOOK is set
   to 1 in FreeRTOSConfig.h. It will be called on each iteration of the idle
   task. It is essential that code added to this hook function never attempts
   to block in any way (for example, call xQueueReceive() with a block time
   specified, or call vTaskDelay()). If the application makes use of the
   vTaskDelete() API function (as this demo application does) then it is also
   important that vApplicationIdleHook() is permitted to return to its calling
   function, because it is the responsibility of the idle task to clean up
   memory allocated by the kernel to any task that has since been deleted. */
    //LL_GPIO_SetOutputPin(TEST1_GPIO_Port, TEST1_Pin);
    __WFI();
    //LL_GPIO_ResetOutputPin(TEST1_GPIO_Port, TEST1_Pin);//教训：不要使用PC13，否则会搞坏RTC
}
/* USER CODE END 2 */

void MX_FREERTOS_Init(void) {

  /* Create the semaphores(s) */
  /* creation of mutex_spi_idle */
  mutex_spi_idleHandle = osSemaphoreNew(1, 1, &mutex_spi_idle_attributes);

  /* creation of mutex_spi_busy */
  mutex_spi_busyHandle = osSemaphoreNew(1, 0, &mutex_spi_busy_attributes);

  /* creation of mutex_disp_idle */
  mutex_disp_idleHandle = osSemaphoreNew(1, 1, &mutex_disp_idle_attributes);

  /* Create the queue(s) */
  /* creation of Beep_Queue */
  Beep_QueueHandle = osMessageQueueNew (1, sizeof(uint8_t), &Beep_Queue_attributes);

  /* creation of Button_Queue */
  Button_QueueHandle = osMessageQueueNew (16, sizeof(uint16_t), &Button_Queue_attributes);

  /* creation of Notification_Queue */
  Notification_QueueHandle = osMessageQueueNew (16, sizeof(const char*), &Notification_Queue_attributes);

  /* Create the thread(s) */
  /* creation of Menu */
  MenuHandle = osThreadNew(Menu_Task, NULL, &Menu_attributes);

  /* creation of Button */
  ButtonHandle = osThreadNew(Button_Task, NULL, &Button_attributes);

  /* creation of Beep */
  BeepHandle = osThreadNew(Beep_Task, NULL, &Beep_attributes);

  /* creation of Notification */
  NotificationHandle = osThreadNew(Notification_Task, NULL, &Notification_attributes);

  /* creation of AutoRecover */
  AutoRecoverHandle = osThreadNew(AutoRecover_Task, NULL, &AutoRecover_attributes);

  /* creation of ADCTask */
  ADCTaskHandle = osThreadNew(ADC_Task, NULL, &ADCTask_attributes);

}

__weak void Menu_Task(void *argument)
{
  for(;;)
  {
    osDelay(1);
  }
}

__weak void Button_Task(void *argument)
{
  for(;;)
  {
    osDelay(1);
  }
}

__weak void Beep_Task(void *argument)
{
  for(;;)
  {
    osDelay(1);
  }
}

__weak void Notification_Task(void *argument)
{
  for(;;)
  {
    osDelay(1);
  }
}

__weak void AutoRecover_Task(void *argument)
{
  for(;;)
  {
    osDelay(1);
  }
}

__weak void ADC_Task(void *argument)
{
  for(;;)
  {
    osDelay(1);
  }
}
